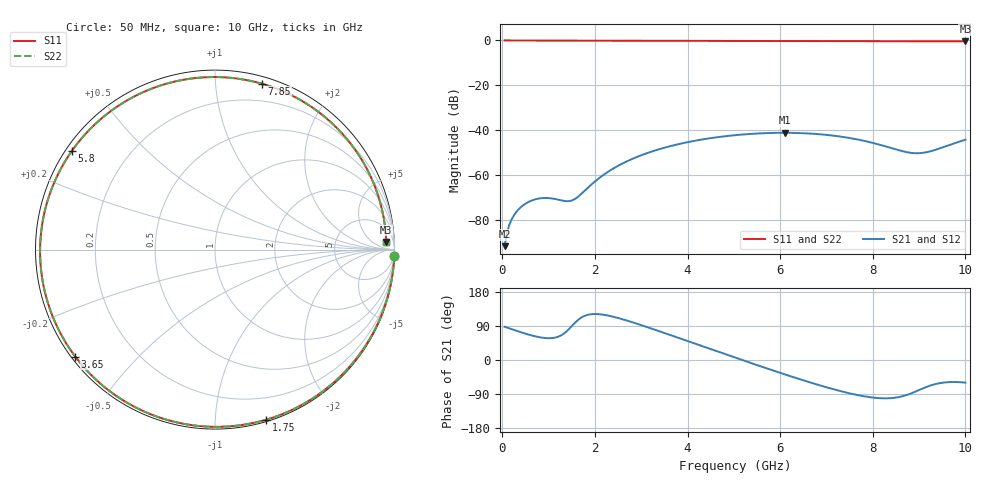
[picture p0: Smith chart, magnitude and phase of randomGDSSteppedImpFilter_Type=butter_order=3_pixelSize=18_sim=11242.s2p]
! freq	dB(S11)	phase(S11)	dB(S12)	phase(S12)
!  dB(S21)	phase(S21)	dB(S22)	phase(S22)
!S-par simulation data
#  GHz  S  DB  R 50
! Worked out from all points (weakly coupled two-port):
!   200 points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, 50 MHz to 10 GHz, reference 50 ohm
!   highest |S21| = -41.25 dB at 6.1 GHz (marker M1); lowest = -91.9 dB at 50 MHz (marker M2)
!   lowest |S11| = -0.4 dB at 10 GHz (marker M3), VSWR 43.27, Z = 1.11e+03 + j1.08e+03 ohm
!   |S11| at or under -10 dB: nowhere
!   |S22| runs from -0.4 to 0.0 dB; largest |S21 - S12| = 0
!   S11 on the Smith chart (normalised r, x): 50 MHz: 0, -52; 1.75 GHz: 0.01, -1.34; 3.65 GHz: 0.01, -0.34; 5.8 GHz: 0.02, +0.31; 7.85 GHz: 0.06, +1.32; 10 GHz: 22, +22
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0.05  -0.00 -2.2  -91.89 87.6  -91.89 87.6  -0.00 -2.2
0.2  -0.01 -8.7  -80.00 81.4  -80.00 81.4  -0.01 -8.7
0.4  -0.02 -17.3  -74.48 73.3  -74.48 73.3  -0.02 -17.3
0.65  -0.04 -28.0  -71.38 64.3  -71.38 64.3  -0.04 -28.0
0.95  -0.05 -40.7  -70.36 57.7  -70.36 57.7  -0.05 -40.7
1.45  -0.08 -61.3  -71.74 82.9  -71.74 82.9  -0.08 -61.3
1.75  -0.09 -73.3  -67.70 114.9  -67.70 114.9  -0.09 -73.3
2.1  -0.11 -86.9  -61.35 120.7  -61.35 120.7  -0.11 -86.9
2.45  -0.12 -100.0  -56.56 112.5  -56.56 112.5  -0.12 -100.0
3.4  -0.16 -134.0  -48.50 75.5  -48.50 75.5  -0.16 -134.0
3.65  -0.17 -142.6  -47.09 64.9  -47.09 64.9  -0.17 -142.6
4.35  -0.20 -166.2  -44.12 35.1  -44.12 35.1  -0.20 -166.2
5.05  -0.24 170.5  -42.26 5.4  -42.26 5.4  -0.24 170.5
5.8  -0.28 145.3  -41.32 -25.7  -41.32 -25.7  -0.28 145.3
6.1  -0.29 135.1  -41.25 -37.9  -41.25 -37.9  -0.29 135.1
6.7  -0.32 114.5  -41.66 -61.2  -41.66 -61.2  -0.32 114.5
7.3  -0.34 93.5  -42.93 -82.0  -42.93 -82.0  -0.34 93.5
7.85  -0.35 74.2  -45.01 -96.5  -45.01 -96.5  -0.35 74.2
8.35  -0.36 56.7  -47.76 -101.0  -47.76 -101.0  -0.36 56.7
8.75  -0.36 43.0  -49.96 -91.7  -49.96 -91.7  -0.36 43.0
9.05  -0.37 32.9  -50.28 -76.5  -50.28 -76.5  -0.37 32.9
10  -0.40 2.6  -44.34 -59.7  -44.34 -59.7  -0.40 2.6
